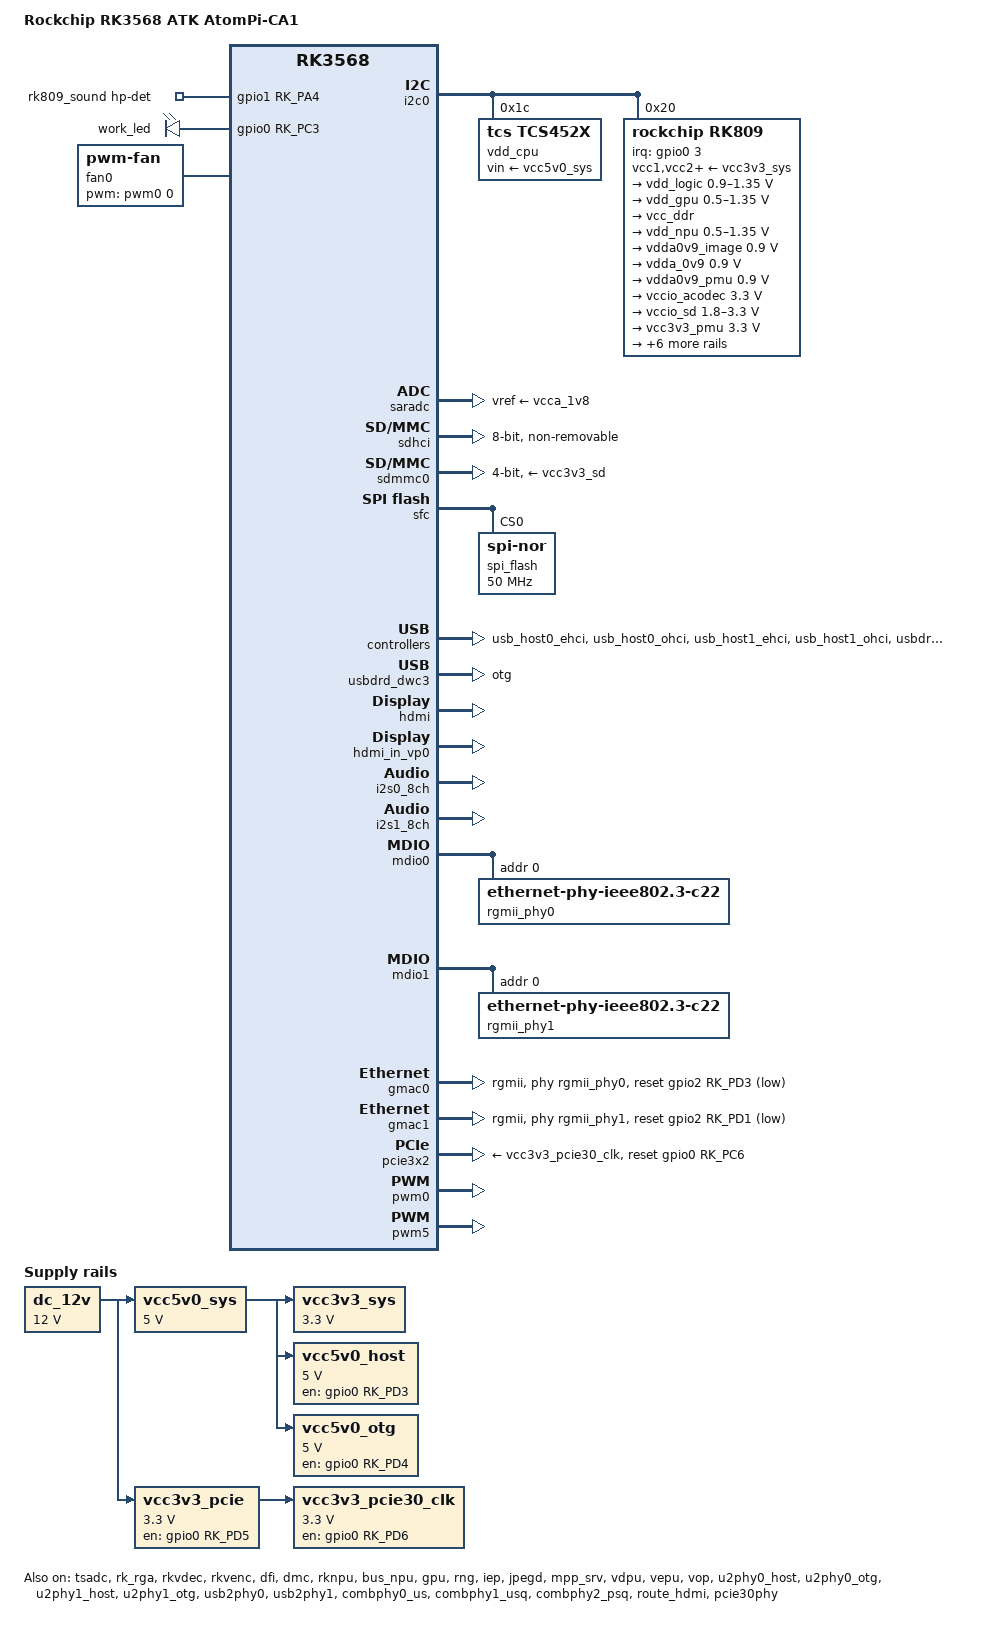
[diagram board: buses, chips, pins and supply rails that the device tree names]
// SPDX-License-Identifier: (GPL-2.0+ OR MIT)
/*
 * Copyright (c) 2020 Rockchip Electronics Co., Ltd.
 *
 */

/dts-v1/;

#include <dt-bindings/gpio/gpio.h>
#include <dt-bindings/pinctrl/rockchip.h>
#include <dt-bindings/display/media-bus-format.h>
#include <dt-bindings/pwm/pwm.h>
#include <dt-bindings/input/rk-input.h>
#include <dt-bindings/display/drm_mipi_dsi.h>
#include <dt-bindings/sensor-dev.h>
#include <dt-bindings/display/rockchip_vop.h>
#include <dt-bindings/suspend/rockchip-rk3568.h>
#include "rk3568.dtsi"

/ {
	model = "Rockchip RK3568 ATK AtomPi-CA1";
	compatible = "rockchip,rk3568-evb1-ddr4-v10", "rockchip,rk3568";

    dc_12v: dc-12v {
		compatible = "regulator-fixed";
		regulator-name = "dc_12v";
		regulator-always-on;
		regulator-boot-on;
		regulator-min-microvolt = <12000000>;
		regulator-max-microvolt = <12000000>;
	};

	vcc5v0_sys: vcc5v0-sys {
		compatible = "regulator-fixed";
		regulator-name = "vcc5v0_sys";
		regulator-always-on;
		regulator-boot-on;
		regulator-min-microvolt = <5000000>;
		regulator-max-microvolt = <5000000>;
		vin-supply = <&dc_12v>;
	};
    
    vcc3v3_sys: vcc3v3-sys {
		compatible = "regulator-fixed";
		regulator-name = "vcc3v3_sys";
		regulator-always-on;
		regulator-boot-on;
		regulator-min-microvolt = <3300000>;
		regulator-max-microvolt = <3300000>;
		vin-supply = <&vcc5v0_sys>;
	};

    vcc5v0_host: vcc5v0-host-regulator {
		compatible = "regulator-fixed";
		regulator-name = "vcc5v0_host";
		regulator-boot-on;
		regulator-always-on;
		regulator-min-microvolt = <5000000>;
		regulator-max-microvolt = <5000000>;
		enable-active-high;
		gpio = <&gpio0 RK_PD3 GPIO_ACTIVE_HIGH>;
		vin-supply = <&vcc5v0_sys>;
		pinctrl-names = "default";
		pinctrl-0 = <&vcc5v0_host_en>;
	};

    vcc5v0_otg: vcc5v0-otg-regulator {
		compatible = "regulator-fixed";
		regulator-name = "vcc5v0_otg";
		regulator-min-microvolt = <5000000>;
		regulator-max-microvolt = <5000000>;
		enable-active-high;
		gpio = <&gpio0 RK_PD4 GPIO_ACTIVE_HIGH>;
		vin-supply = <&vcc5v0_sys>;
		pinctrl-names = "default";
		pinctrl-0 = <&vcc5v0_otg_en>;
	};

    vcc3v3_pcie: vcc3v3-pcie-regulator {
		compatible = "regulator-fixed";
		regulator-name = "vcc3v3_pcie";
		regulator-min-microvolt = <3300000>;
		regulator-max-microvolt = <3300000>;
		regulator-boot-on;
		//regulator-always-on;
		enable-active-high;
		gpio = <&gpio0 RK_PD5 GPIO_ACTIVE_HIGH>;
		vin-supply = <&dc_12v>;
		pinctrl-names = "default";
		pinctrl-0 = <&vcc3v3_pcie_en>;
	};

    vcc3v3_pcie30_clk: vcc3v3-pcie30-clk-regulator {
		compatible = "regulator-fixed";
		regulator-name = "vcc3v3_pcie30_clk";
		regulator-min-microvolt = <3300000>;
		regulator-max-microvolt = <3300000>;
		enable-active-high;
		regulator-boot-on;
		//regulator-always-on;
		gpio = <&gpio0 RK_PD6 GPIO_ACTIVE_HIGH>;
		pinctrl-names = "default";
		pinctrl-0 = <&vcc3v3_pcie30_clk_en>;
		vin-supply = <&vcc3v3_pcie>;
	};

    hdmi_sound: hdmi-sound {
		status = "okay";
		compatible = "rockchip,hdmi";
		rockchip,mclk-fs = <128>;
		rockchip,card-name = "rockchip,hdmi";
		rockchip,cpu = <&i2s0_8ch>;
		rockchip,codec = <&hdmi>;
	};

    rk809_sound: rk809-sound {
		status = "okay";
		compatible = "simple-audio-card";
		simple-audio-card,format = "i2s";
		simple-audio-card,name = "rockchip,rk809-codec";
		simple-audio-card,hp-det-gpio = <&gpio1 RK_PA4 GPIO_ACTIVE_HIGH>;
		simple-audio-card,mclk-fs = <256>;
		simple-audio-card,cpu {
			sound-dai = <&i2s1_8ch>;
		};
		simple-audio-card,codec {
			sound-dai = <&rk809_codec>;
		};
	};

    rk_headset: rk-headset {
		compatible = "rockchip_headset";
		headset_gpio = <&gpio1 RK_PA4 GPIO_ACTIVE_HIGH>;
		pinctrl-names = "default";
		pinctrl-0 = <&hp_det>;
		io-channels = <&saradc 5>;
        status="disabled";
	};

	leds: leds {
		compatible = "gpio-leds";
		work_led: work {
			gpios = <&gpio0 RK_PC3 GPIO_ACTIVE_HIGH>;
			linux,default-trigger = "heartbeat";
		};
	};

	fan0: pwm-fan {
		compatible = "pwm-fan";
		cooling-min-state = <0>;
		cooling-max-state = <22>;
		#cooling-cells = <2>;
		pwms = <&pwm0 0 25000 0>;
		cooling-levels = <0 50 100 150 200 255>;
		rockchip,temp-trips = <
			43000	1
			47000	2
			50000	3
			55000	4
			60000	5
		>;
		status = "okay";
	};
};

&i2c0 {
	status = "okay";

	vdd_cpu: tcs4525@1c {
		compatible = "tcs,tcs452x";
		reg = <0x1c>;
		vin-supply = <&vcc5v0_sys>;
		regulator-compatible = "fan53555-reg";
		regulator-name = "vdd_cpu";
		regulator-min-microvolt = <712500>;
		regulator-max-microvolt = <1390000>;
		regulator-init-microvolt = <900000>;
		regulator-ramp-delay = <2300>;
		fcs,suspend-voltage-selector = <1>;
		regulator-boot-on;
		regulator-always-on;
		regulator-state-mem {
			regulator-off-in-suspend;
		};
	};

	rk809: pmic@20 {
		compatible = "rockchip,rk809";
		reg = <0x20>;
		interrupt-parent = <&gpio0>;
		interrupts = <3 IRQ_TYPE_LEVEL_LOW>;

		pinctrl-names = "default", "pmic-sleep",
				"pmic-power-off", "pmic-reset";
		pinctrl-0 = <&pmic_int>;
		pinctrl-1 = <&soc_slppin_slp>, <&rk817_slppin_slp>;
		pinctrl-2 = <&soc_slppin_gpio>, <&rk817_slppin_pwrdn>;
		pinctrl-3 = <&soc_slppin_gpio>, <&rk817_slppin_rst>;

		rockchip,system-power-controller;
		wakeup-source;
		#clock-cells = <1>;
		clock-output-names = "rk808-clkout1", "rk808-clkout2";
		//fb-inner-reg-idxs = <2>;
		/* 1: rst regs (default in codes), 0: rst the pmic */
		pmic-reset-func = <0>;
		/* not save the PMIC_POWER_EN register in uboot */
		not-save-power-en = <1>;

		vcc1-supply = <&vcc3v3_sys>;
		vcc2-supply = <&vcc3v3_sys>;
		vcc3-supply = <&vcc3v3_sys>;
		vcc4-supply = <&vcc3v3_sys>;
		vcc5-supply = <&vcc3v3_sys>;
		vcc6-supply = <&vcc3v3_sys>;
		vcc7-supply = <&vcc3v3_sys>;
		vcc8-supply = <&vcc3v3_sys>;
		vcc9-supply = <&vcc3v3_sys>;

		pwrkey {
			status = "okay";
		};

		rtc {
			status = "okay";
		};

		pinctrl_rk8xx: pinctrl_rk8xx {
			gpio-controller;
			#gpio-cells = <2>;

			rk817_slppin_null: rk817_slppin_null {
				pins = "gpio_slp";
				function = "pin_fun0";
			};

			rk817_slppin_slp: rk817_slppin_slp {
				pins = "gpio_slp";
				function = "pin_fun1";
			};

			rk817_slppin_pwrdn: rk817_slppin_pwrdn {
				pins = "gpio_slp";
				function = "pin_fun2";
			};

			rk817_slppin_rst: rk817_slppin_rst {
				pins = "gpio_slp";
				function = "pin_fun3";
			};
		};

		regulators {
			vdd_logic: DCDC_REG1 {
				regulator-always-on;
				regulator-boot-on;
				regulator-min-microvolt = <900000>;
				regulator-max-microvolt = <1350000>;
				regulator-init-microvolt = <900000>;
				regulator-ramp-delay = <6001>;
				regulator-initial-mode = <0x2>;
				regulator-name = "vdd_logic";
				regulator-state-mem {
					regulator-off-in-suspend;
				};
			};

			vdd_gpu: DCDC_REG2 {
				regulator-always-on;
				regulator-boot-on;
				regulator-min-microvolt = <500000>;
				regulator-max-microvolt = <1350000>;
				regulator-init-microvolt = <900000>;
				regulator-ramp-delay = <6001>;
				regulator-initial-mode = <0x2>;
				regulator-name = "vdd_gpu";
				regulator-state-mem {
					regulator-off-in-suspend;
				};
			};

			vcc_ddr: DCDC_REG3 {
				regulator-always-on;
				regulator-boot-on;
				regulator-initial-mode = <0x2>;
				regulator-name = "vcc_ddr";
				regulator-state-mem {
					regulator-on-in-suspend;
				};
			};

			vdd_npu: DCDC_REG4 {
				regulator-always-on;
				regulator-boot-on;
				regulator-min-microvolt = <500000>;
				regulator-max-microvolt = <1350000>;
				regulator-init-microvolt = <900000>;
				regulator-ramp-delay = <6001>;
				regulator-initial-mode = <0x2>;
				regulator-name = "vdd_npu";
				regulator-state-mem {
					regulator-off-in-suspend;
				};
			};

			vdda0v9_image: LDO_REG1 {
				regulator-boot-on;
				regulator-always-on;
				regulator-min-microvolt = <900000>;
				regulator-max-microvolt = <900000>;
				regulator-name = "vdda0v9_image";
				regulator-state-mem {
					regulator-off-in-suspend;
				};
			};

			vdda_0v9: LDO_REG2 {
				regulator-always-on;
				regulator-boot-on;
				regulator-min-microvolt = <900000>;
				regulator-max-microvolt = <900000>;
				regulator-name = "vdda_0v9";
				regulator-state-mem {
					regulator-off-in-suspend;
				};
			};

			vdda0v9_pmu: LDO_REG3 {
				regulator-always-on;
				regulator-boot-on;
				regulator-min-microvolt = <900000>;
				regulator-max-microvolt = <900000>;
				regulator-name = "vdda0v9_pmu";
				regulator-state-mem {
					regulator-on-in-suspend;
					regulator-suspend-microvolt = <900000>;
				};
			};

			vccio_acodec: LDO_REG4 {
				regulator-always-on;
				regulator-boot-on;
				regulator-min-microvolt = <3300000>;
				regulator-max-microvolt = <3300000>;
				regulator-name = "vccio_acodec";
				regulator-state-mem {
					regulator-off-in-suspend;
				};
			};

			vccio_sd: LDO_REG5 {
				regulator-always-on;
				regulator-boot-on;
				regulator-min-microvolt = <1800000>;
				regulator-max-microvolt = <3300000>;
				regulator-name = "vccio_sd";
				regulator-state-mem {
					regulator-off-in-suspend;
				};
			};

			vcc3v3_pmu: LDO_REG6 {
				regulator-always-on;
				regulator-boot-on;
				regulator-min-microvolt = <3300000>;
				regulator-max-microvolt = <3300000>;
				regulator-name = "vcc3v3_pmu";
				regulator-state-mem {
					regulator-on-in-suspend;
					regulator-suspend-microvolt = <3300000>;
				};
			};

			vcca_1v8: LDO_REG7 {
				regulator-always-on;
				regulator-boot-on;
				regulator-min-microvolt = <1800000>;
				regulator-max-microvolt = <1800000>;
				regulator-name = "vcca_1v8";
				regulator-state-mem {
					regulator-off-in-suspend;
				};
			};

			vcca1v8_pmu: LDO_REG8 {
				regulator-always-on;
				regulator-boot-on;
				regulator-min-microvolt = <1800000>;
				regulator-max-microvolt = <1800000>;
				regulator-name = "vcca1v8_pmu";
				regulator-state-mem {
					regulator-on-in-suspend;
					regulator-suspend-microvolt = <1800000>;
				};
			};

			vcca1v8_image: LDO_REG9 {
				regulator-always-on;
				regulator-boot-on;
				regulator-min-microvolt = <1800000>;
				regulator-max-microvolt = <1800000>;
				regulator-name = "vcca1v8_image";
				regulator-state-mem {
					regulator-off-in-suspend;
				};
			};

			vcc_1v8: DCDC_REG5 {
				regulator-always-on;
				regulator-boot-on;
				regulator-min-microvolt = <1800000>;
				regulator-max-microvolt = <1800000>;
				regulator-name = "vcc_1v8";
				regulator-state-mem {
					regulator-off-in-suspend;
				};
			};

			vcc_3v3: SWITCH_REG1 {
				regulator-always-on;
				regulator-boot-on;
				regulator-name = "vcc_3v3";
				regulator-state-mem {
					regulator-off-in-suspend;
				};
			};

			vcc3v3_sd: SWITCH_REG2 {
				regulator-always-on;
				regulator-boot-on;
				regulator-name = "vcc3v3_sd";
				regulator-state-mem {
					regulator-off-in-suspend;
				};
			};
		};

		rk809_codec: codec {
			#sound-dai-cells = <0>;
			compatible = "rockchip,rk809-codec", "rockchip,rk817-codec";
			clocks = <&cru I2S1_MCLKOUT>;
			clock-names = "mclk";
			assigned-clocks = <&cru I2S1_MCLKOUT>, <&cru I2S1_MCLK_TX_IOE>;
			assigned-clock-rates = <12288000>;
			assigned-clock-parents = <&cru I2S1_MCLKOUT_TX>, <&cru I2S1_MCLKOUT_TX>;
			pinctrl-names = "default";
			pinctrl-0 = <&i2s1m0_mclk &hp_det>;
			hp-volume = <20>;
			spk-volume = <3>;
			mic-in-differential;
			status = "okay";
		};
	};
};

&pmu_io_domains {
	status = "okay";
	pmuio2-supply = <&vcc3v3_pmu>;
	vccio1-supply = <&vccio_acodec>;
	vccio3-supply = <&vccio_sd>;
	vccio4-supply = <&vcc_1v8>;
	vccio5-supply = <&vcc_3v3>;
	vccio6-supply = <&vcc_1v8>;
	vccio7-supply = <&vcc_3v3>;
};

&tsadc {
	status = "okay";
};

&saradc {
	status = "okay";
	vref-supply = <&vcca_1v8>;
};

&sdhci {
	bus-width = <8>;
	supports-emmc;
	non-removable;
	max-frequency = <200000000>;
	status = "okay";
};

&sdmmc0 {
	max-frequency = <150000000>;
	supports-sd;
	bus-width = <4>;
	cap-mmc-highspeed;
	cap-sd-highspeed;
	disable-wp;
	sd-uhs-sdr104;
	vmmc-supply = <&vcc3v3_sd>;
	vqmmc-supply = <&vccio_sd>;
	pinctrl-names = "default";
	pinctrl-0 = <&sdmmc0_bus4 &sdmmc0_clk &sdmmc0_cmd &sdmmc0_det>;
	status = "okay";
};

&sfc {
	status = "okay";
	max-freq = <50000000>;
	#address-cells = <1>;
	#size-cells = <0>;
	pinctrl-names = "default";
	pinctrl-0 = <&fspi_pins>;

	spi_flash: spi-flash@0 {
		#address-cells = <1>;
		#size-cells = <0>;
		compatible = "jedec,spi-nor";
		reg = <0x0>;
		spi-max-frequency = <50000000>;
		spi-tx-bus-width = <1>;
		spi-rx-bus-width = <4>;
		status = "okay";
	};
};

&rk_rga {
	status = "okay";
};

&rkvdec {
	status = "okay";
};

&rkvdec_mmu {
	status = "okay";
};

&rkvenc {
	venc-supply = <&vdd_logic>;
	status = "okay";
};

&rkvenc_mmu {
	status = "okay";
};

&cpu0 {
	cpu-supply = <&vdd_cpu>;
};

&dfi {
	status = "okay";
};

&dmc {
	center-supply = <&vdd_logic>;
	status = "okay";

	vop-bw-dmc-freq = <
		/* min_bw(MB/s) max_bw(MB/s) freq(KHz) */
			0	99999	1560000
		>;
		vop-frame-bw-dmc-freq = <
		/* min_bw(MB/s) max_bw(MB/s) freq(KHz) */
			0	99999	1560000
		>;
		cpu-bw-dmc-freq = <
		/* min_bw(MB/s) max_bw(MB/s) freq(KHz) */
			0	350	324000
			351	400	528000
			401	99999	780000
		>;
	system-status-level = <
		/*system status         freq level*/
		SYS_STATUS_NORMAL       DMC_FREQ_LEVEL_HIGH
		SYS_STATUS_REBOOT       DMC_FREQ_LEVEL_HIGH
		SYS_STATUS_SUSPEND      DMC_FREQ_LEVEL_LOW
		SYS_STATUS_VIDEO_4K     DMC_FREQ_LEVEL_HIGH
		SYS_STATUS_VIDEO_4K_10B DMC_FREQ_LEVEL_HIGH
		SYS_STATUS_BOOST        DMC_FREQ_LEVEL_HIGH
		SYS_STATUS_ISP          DMC_FREQ_LEVEL_HIGH
		SYS_STATUS_PERFORMANCE  DMC_FREQ_LEVEL_HIGH
		SYS_STATUS_DUALVIEW     DMC_FREQ_LEVEL_HIGH
	>;
	auto-min-freq = <1560000>;
};

&rknpu {
	rknpu-supply = <&vdd_npu>;
	status = "okay";
};

&rknpu_mmu {
	status = "okay";
};

&bus_npu {
	bus-supply = <&vdd_logic>;
	pvtm-supply = <&vdd_cpu>;
	status = "okay";
};

&gpu {
	mali-supply = <&vdd_gpu>;
	status = "okay";
};

&rng {
	status = "okay";
};

&rockchip_suspend {
	status = "disabled";
	rockchip,sleep-mode-config = <
			(0
			| RKPM_SLP_ARMOFF_LOGOFF
			| RKPM_SLP_CENTER_OFF
			| RKPM_SLP_HW_PLLS_OFF
			| RKPM_SLP_PMUALIVE_32K
			| RKPM_SLP_OSC_DIS
			| RKPM_SLP_PMIC_LP
			| RKPM_SLP_32K_PVTM
			)
		>;
	rockchip,wakeup-config = <
			(0
			| RKPM_GPIO_WKUP_EN
			)
		>;
};

&iep {
	status = "okay";
};

&iep_mmu {
	status = "okay";
};

&jpegd {
	status = "okay";
};

&jpegd_mmu {
	status = "okay";
};

&mpp_srv {
	status = "okay";
};

&vdpu {
	status = "okay";
};

&vdpu_mmu {
	status = "okay";
};

&vepu {
	status = "okay";
};

&vepu_mmu {
	status = "okay";
};

&vop {
	status = "okay";
	assigned-clocks = <&cru DCLK_VOP0>, <&cru DCLK_VOP1>;
	assigned-clock-parents = <&pmucru PLL_HPLL>, <&cru PLL_VPLL>;
	disable-win-move;
};

&vop_mmu {
	status = "okay";
};

&vp0 {
	cursor-win-id = <ROCKCHIP_VOP2_CLUSTER0>;
};

&vp1 {
	cursor-win-id = <ROCKCHIP_VOP2_CLUSTER1>;
};

&u2phy0_host {
	phy-supply = <&vcc5v0_host>;
	status = "okay";
};

&u2phy0_otg {
	vbus-supply = <&vcc5v0_otg>;
	status = "okay";
};

&u2phy1_host {
	phy-supply = <&vcc5v0_host>;
	status = "okay";
};

&u2phy1_otg {
	phy-supply = <&vcc5v0_host>;
	status = "okay";
};

&usb2phy0 {
	status = "okay";
};

&usb2phy1 {
	status = "okay";
};

&usb_host0_ehci {
	status = "okay";
};

&usb_host0_ohci {
	status = "okay";
};

&usb_host1_ehci {
	status = "okay";
};

&usb_host1_ohci {
	status = "okay";
};

&usbdrd_dwc3 {
	dr_mode = "otg";
	extcon = <&usb2phy0>;
	status = "okay";
};

&usbdrd30 {
	status = "okay";
};

&usbhost_dwc3 {
	status = "okay";
};

&usbhost30 {
	status = "okay";
};

&combphy0_us {
	status = "okay";
};

&combphy1_usq {
	status = "okay";
};

&combphy2_psq {
	status = "okay";
};

&hdmi {
	status = "okay";
    pinctrl-names = "default";
	pinctrl-0 = <&hdmitx_scl &hdmitx_sda &hdmitxm1_cec>;
    rockchip,phy-table =
		<92812500  0x8009 0x0000 0x0270>,
		<165000000 0x800b 0x0000 0x026d>,
		<185625000 0x800b 0x0000 0x01ed>,
		<297000000 0x800b 0x0000 0x01ad>,
		<594000000 0x8029 0x0000 0x0088>,
		<000000000 0x0000 0x0000 0x0000>;
};

&hdmi_in_vp0 {
	status = "okay";
};

&hdmi_in_vp1 {
	status = "disabled";
};

&route_hdmi {
	connect = <&vp0_out_hdmi>;
	status = "okay";
};

&i2s0_8ch {
	status = "okay";
};

&i2s1_8ch {
	status = "okay";
	rockchip,clk-trcm = <1>;
	pinctrl-names = "default";
	pinctrl-0 = <&i2s1m0_sclktx
		     &i2s1m0_lrcktx
		     &i2s1m0_sdi0
		     &i2s1m0_sdo0>;
};

&mdio0 {
	rgmii_phy0: phy@0 {
		compatible = "ethernet-phy-ieee802.3-c22";
		reg = <0x0>;
	};
};

&mdio1 {
	rgmii_phy1: phy@0 {
		compatible = "ethernet-phy-ieee802.3-c22";
		reg = <0x0>;
	};
};

&gmac0 {
	phy-mode = "rgmii";
	clock_in_out = "output";

	snps,reset-gpio = <&gpio2 RK_PD3 GPIO_ACTIVE_LOW>;
	snps,reset-active-low;
	/* Reset time is 20ms, 100ms for rtl8211f */
	snps,reset-delays-us = <0 20000 100000>;

	assigned-clocks = <&cru SCLK_GMAC0_RX_TX>, <&cru SCLK_GMAC0>;
	assigned-clock-parents = <&cru SCLK_GMAC0_RGMII_SPEED>, <&cru CLK_MAC0_2TOP>;
	assigned-clock-rates = <0>, <125000000>;

	pinctrl-names = "default";
	pinctrl-0 = <&gmac0_miim
		     &gmac0_tx_bus2
		     &gmac0_rx_bus2
		     &gmac0_rgmii_clk
		     &gmac0_rgmii_bus>;

	tx_delay = <0x3c>;
	rx_delay = <0x2f>;

	phy-handle = <&rgmii_phy0>;
	status = "okay";
};

&gmac1 {
	phy-mode = "rgmii";
	clock_in_out = "output";

	snps,reset-gpio = <&gpio2 RK_PD1 GPIO_ACTIVE_LOW>;
	snps,reset-active-low;
	/* Reset time is 20ms, 100ms for rtl8211f */
	snps,reset-delays-us = <0 20000 100000>;

	assigned-clocks = <&cru SCLK_GMAC1_RX_TX>, <&cru SCLK_GMAC1>;
	assigned-clock-parents = <&cru SCLK_GMAC1_RGMII_SPEED>, <&cru CLK_MAC1_2TOP>;
	assigned-clock-rates = <0>, <125000000>;

	pinctrl-names = "default";
	pinctrl-0 = <&gmac1m1_miim
		     &gmac1m1_tx_bus2
		     &gmac1m1_rx_bus2
		     &gmac1m1_rgmii_clk
		     &gmac1m1_rgmii_bus>;

	tx_delay = <0x4f>;
	rx_delay = <0x26>;

	phy-handle = <&rgmii_phy1>;
	status = "okay";
};

&pcie30phy {
	status = "okay";
};

&pcie3x2 {
	//pinctrl-names = "default";
	//pinctrl-0 = <&pcie30x2m0_pins>;
	reset-gpios = <&gpio0 RK_PC6 GPIO_ACTIVE_HIGH>;
	vpcie3v3-supply = <&vcc3v3_pcie30_clk>;
	status = "okay";
};

&pwm0 {
	status = "okay";
};

&pwm5 {
	status = "okay";
};

&pinctrl {

	pmic {
		pmic_int: pmic_int {
			rockchip,pins =
				<0 RK_PA3 RK_FUNC_GPIO &pcfg_pull_up>;
		};

		soc_slppin_gpio: soc_slppin_gpio {
			rockchip,pins =
				<0 RK_PA2 RK_FUNC_GPIO &pcfg_output_low_pull_down>;
		};

		soc_slppin_slp: soc_slppin_slp {
			rockchip,pins =
				<0 RK_PA2 1 &pcfg_pull_up>;
		};

		soc_slppin_rst: soc_slppin_rst {
			rockchip,pins =
				<0 RK_PA2 2 &pcfg_pull_none>;
		};
	};

	usb {
		vcc5v0_host_en: vcc5v0-host-en {
			rockchip,pins = <0 RK_PD3 RK_FUNC_GPIO &pcfg_pull_none>;
		};

		vcc5v0_otg_en: vcc5v0-otg-en {
			rockchip,pins = <0 RK_PD4 RK_FUNC_GPIO &pcfg_pull_none>;
		};
	};

    pcie {
        vcc3v3_pcie_en: vcc3v3-pcie-en {
			rockchip,pins = <0 RK_PD5 RK_FUNC_GPIO &pcfg_pull_none>;

		};

        vcc3v3_pcie30_clk_en: vcc3v3-pcie30-clk-en {
			rockchip,pins = <0 RK_PD6 RK_FUNC_GPIO &pcfg_pull_none>;
		};

        vcc3v3_pcie20_wifi_en: vcc3v3-pcie20-wifi-en {
			rockchip,pins = <3 RK_PA2 RK_FUNC_GPIO &pcfg_pull_none>;
		};

		wifi_regon_pin: wifi-regon-pin {
			rockchip,pins = <0 RK_PC0 RK_FUNC_GPIO &pcfg_output_high_pull_up>;
		};
    };

    headphone {
		hp_det: hp-det {
			rockchip,pins = <1 RK_PA4 RK_FUNC_GPIO &pcfg_pull_up>;
		};
	};

};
